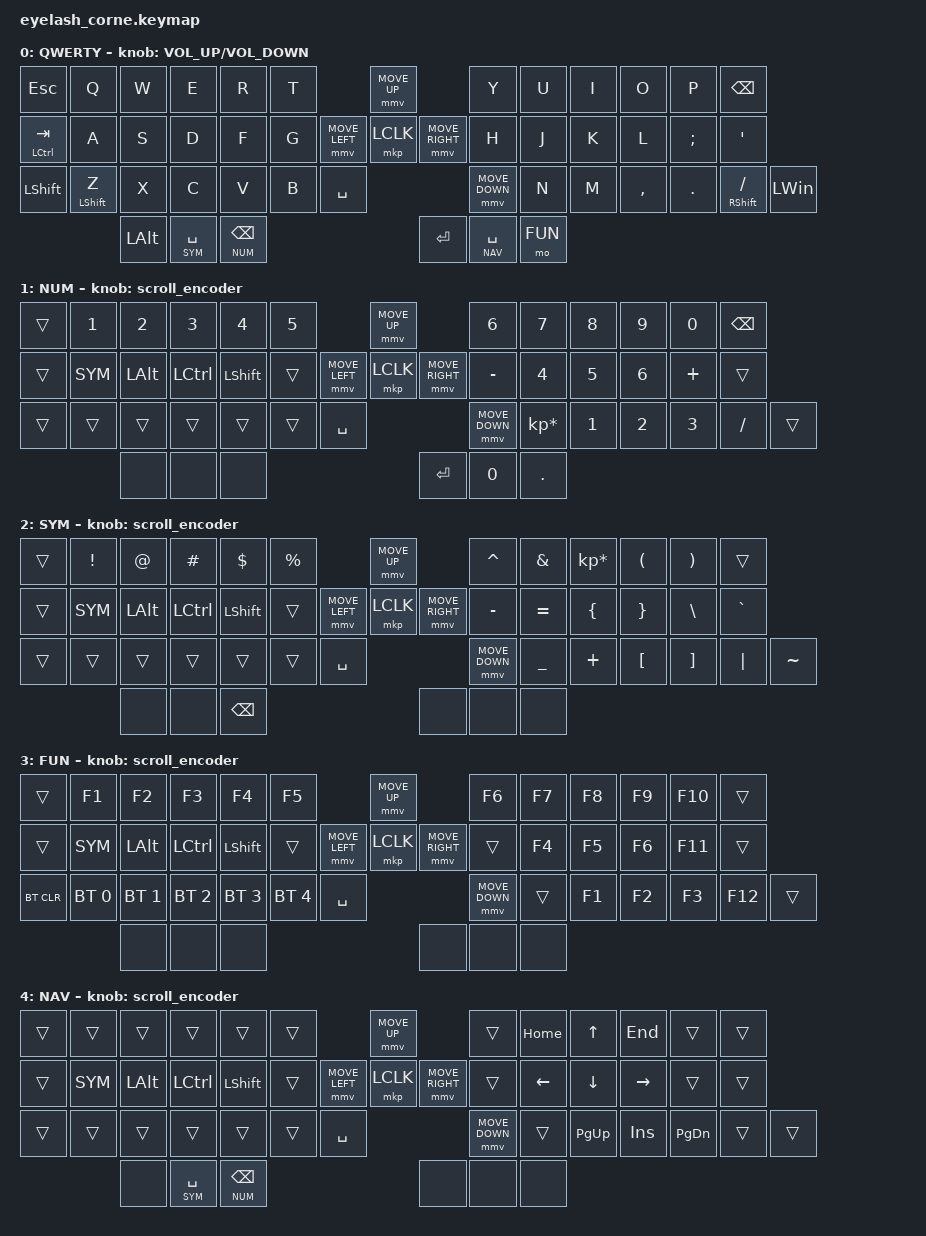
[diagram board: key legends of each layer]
#include <behaviors.dtsi>
#include <dt-bindings/zmk/bt.h>
#include <dt-bindings/zmk/keys.h>
#include <dt-bindings/zmk/mouse.h>
#include <dt-bindings/zmk/outputs.h>
#include <dt-bindings/zmk/rgb.h>

#include <input/processors.dtsi>

/*

   &mmv_input_listener {
       input-processors = <&zip_xy_scaler 2 1>;
   };

   &msc_input_listener {
       input-processors = <&zip_xy_scaler 2 1>;
   };

 */

#define ZMK_MOUSE_DEFAULT_MOVE_VAL 1200  // 600
#define ZMK_MOUSE_DEFAULT_SCRL_VAL 20    // 10

#define DEFAULT 0
#define NAV   4
#define NUM   1
#define SYM   2
#define FUN   3

/ {
    behaviors {
        td0: td0 {
            compatible = "zmk,behavior-tap-dance";
            display-name = "Shift/Caps Lock Tap Dance";
            #binding-cells = <0>;
            bindings = <&kp LEFT_SHIFT>, <&kp CAPS>;
        };
    };

    rgb_encoder: rgb_encoder {
        compatible = "zmk,behavior-sensor-rotate";
        #sensor-binding-cells = <0>;
        bindings = <&rgb_ug RGB_BRI>, <&rgb_ug RGB_BRD>;
    };

    scroll_encoder: scroll_encoder {
        compatible = "zmk,behavior-sensor-rotate";
        #sensor-binding-cells = <0>;
        bindings = <&msc SCRL_DOWN>, <&msc SCRL_UP>;
        tap-ms = <30>;
    };

    keymap {
        compatible = "zmk,keymap";

        default_layer {
            display-name = "QWERTY";
            bindings = <
&kp ESC             &kp Q        &kp W      &kp E     &kp R  &kp T                              &mmv MOVE_UP                      &kp Y        &kp U  &kp I      &kp O    &kp P     &kp BSPC
&mt LCTRL TAB       &kp A        &kp S      &kp D     &kp F  &kp G                    &mmv MOVE_LEFT  &mkp LCLK  &mmv MOVE_RIGHT  &kp H        &kp J  &kp K      &kp L    &kp SEMI  &kp SQT
&kp LSHFT           &mt LSHFT Z  &kp X      &kp C     &kp V  &kp B       &kp SPACE              &mmv MOVE_DOWN                    &kp N        &kp M  &kp COMMA  &kp DOT  &mt RSHFT FSLH  &kp LWIN
                             &kp LALT  &lt SYM SPACE  &lt NUM BSPC                                              &kp ENTER  &lt NAV SPACE  &mo FUN
            >;
            sensor-bindings = <&inc_dec_kp C_VOLUME_UP C_VOLUME_DOWN>;
        };

        lower_layer {
            display-name = "NUM";
            bindings = <
   &trans    &kp N1       &kp N2       &kp N3       &kp N4       &kp N5                                &mmv MOVE_UP                           &kp N6            &kp N7   &kp N8    &kp N9    &kp N0    &kp BSPC
   &trans    &kp SYM      &kp LALT     &kp LCTRL    &kp LSHFT    &trans                      &mmv MOVE_LEFT  &mkp LCLK  &mmv MOVE_RIGHT       &kp MINUS         &kp N4   &kp N5    &kp N6    &kp PLUS  &trans
   &trans    &trans       &trans       &trans       &trans       &trans         &kp SPACE              &mmv MOVE_DOWN                         &kp KP_MULTIPLY   &kp N1   &kp N2    &kp N3    &kp FSLH  &trans
                          	        &none     &none      &none                           &kp RET           &kp N0   &kp DOT
            >;
            sensor-bindings = <&scroll_encoder>;
        };

        raise_layer {
            display-name = "SYM";
            bindings = <
   &trans  &kp EXCL  &kp AT    &kp HASH  &kp DLLR   &kp PRCNT                                &mmv MOVE_UP                         &kp CARET &kp AMPS  &kp KP_MULTIPLY &kp LPAR &kp RPAR &trans
   &trans  &kp SYM   &kp LALT  &kp LCTRL &kp LSHFT  &trans                         &mmv MOVE_LEFT  &mkp LCLK  &mmv MOVE_RIGHT     &kp MINUS &kp EQUAL &kp LBRC        &kp RBRC &kp BSLH &kp GRAVE
   &trans  &trans    &trans    &trans    &trans     &trans            &kp SPACE              &mmv MOVE_DOWN                       &kp UNDER &kp PLUS  &kp LBKT        &kp RBKT &kp PIPE &kp TILDE
                    	     &none    &none    &kp BKSP    &none    &none  &none
            >;
            sensor-bindings = <&scroll_encoder>;
        };

        layer_3 {
            display-name = "FUN";
            bindings = <
   &trans      &kp F1        &kp F2        &kp F3        &kp F4        &kp F5                                 &mmv MOVE_UP                      &kp F6   &kp F7   &kp F8    &kp F9    &kp F10  &trans
   &trans      &kp SYM       &kp LALT      &kp LCTRL     &kp LSHFT     &trans                       &mmv MOVE_LEFT  &mkp LCLK  &mmv MOVE_RIGHT  &trans   &kp F4   &kp F5    &kp F6    &kp F11  &trans
   &bt BT_CLR  &bt BT_SEL 0  &bt BT_SEL 1  &bt BT_SEL 2  &bt BT_SEL 3  &bt BT_SEL 4    &kp SPACE              &mmv MOVE_DOWN                    &trans   &kp F1   &kp F2    &kp F3    &kp F12  &trans
                          	&none      &none       &none        &none          &none   &none
            >;
            sensor-bindings = <&scroll_encoder>;
        };

        layer_4 {
            display-name = "NAV";
            bindings = <
            &trans  &trans  &trans   &trans    &trans    &trans                             &mmv MOVE_UP                       &trans  &kp HOME   &kp UP    &kp END    &trans  &trans
            &trans  &kp SYM &kp LALT &kp LCTRL &kp LSHFT &trans                   &mmv MOVE_LEFT  &mkp LCLK  &mmv MOVE_RIGHT   &trans  &kp LEFT   &kp DOWN  &kp RIGHT  &trans  &trans
            &trans  &trans  &trans   &trans    &trans    &trans      &kp SPACE              &mmv MOVE_DOWN                     &trans  &kp PG_UP  &kp INS   &kp PG_DN  &trans  &trans
                                    &none   &lt SYM SPACE &lt NUM BSPC    &none  &none     &none
            >;
            sensor-bindings = <&scroll_encoder>;
        };

        
    };
};
